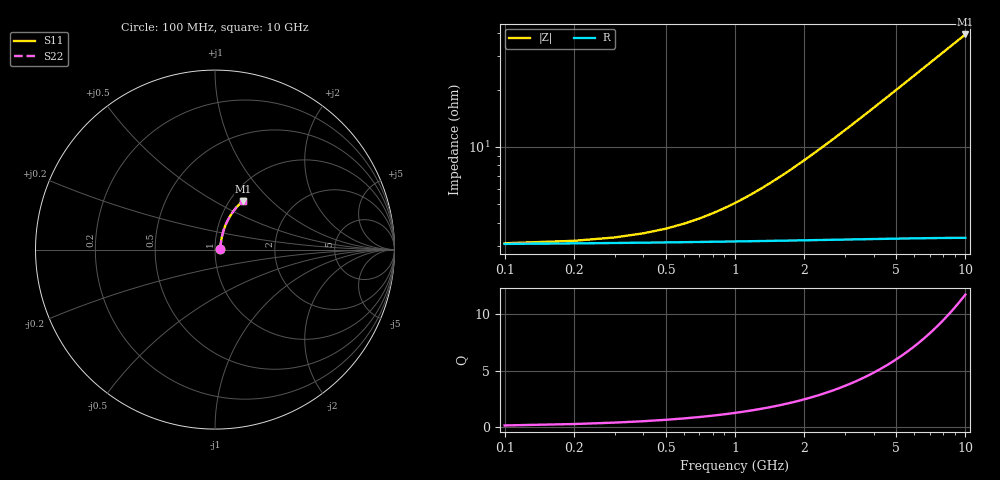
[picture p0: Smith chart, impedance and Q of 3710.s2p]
# Hz S RI R 50.00
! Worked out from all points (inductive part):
!   100 points, 100 MHz to 10 GHz, reference 50 ohm
!   read as one part in series: L = 627 pH near 2.5 GHz
!   highest Q = 11.7 at 10 GHz (marker M1), where L = 621 pH
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1e8  0.03 0.00319  0.97 -0.00424  0.97 -0.00424  0.03 0.00319
2e8  0.0302 0.00638  0.9698 -0.00847  0.9698 -0.00847  0.0302 0.00638
3e8  0.0304 0.00957  0.9696 -0.0127  0.9696 -0.0127  0.0304 0.00957
5e8  0.0308 0.0159  0.9692 -0.0212  0.9692 -0.0212  0.0308 0.0159
7e8  0.0313 0.0223  0.9686 -0.0296  0.9686 -0.0296  0.0313 0.0223
1.3e9  0.0333 0.0413  0.9666 -0.0549  0.9666 -0.0549  0.0333 0.0413
1.6e9  0.0347 0.0507  0.9652 -0.0675  0.9652 -0.0675  0.0347 0.0507
1.8e9  0.0357 0.057  0.9641 -0.0758  0.9641 -0.0758  0.0357 0.057
2.1e9  0.0374 0.0663  0.9623 -0.0883  0.9623 -0.0883  0.0374 0.0663
2.5e9  0.0401 0.0787  0.9596 -0.1049  0.9596 -0.1049  0.0401 0.0787
2.9e9  0.0431 0.0909  0.9564 -0.1213  0.9564 -0.1213  0.0431 0.0909
3.4e9  0.0475 0.1061  0.9518 -0.1417  0.9518 -0.1417  0.0475 0.1061
3.8e9  0.0515 0.118  0.9477 -0.1578  0.9477 -0.1578  0.0515 0.118
4.2e9  0.0558 0.1297  0.9431 -0.1737  0.9431 -0.1737  0.0558 0.1297
4.6e9  0.0606 0.1412  0.9382 -0.1895  0.9382 -0.1895  0.0606 0.1412
5.1e9  0.067 0.1553  0.9315 -0.2088  0.9315 -0.2088  0.067 0.1553
5.9e9  0.0785 0.1771  0.9195 -0.2391  0.9195 -0.2391  0.0785 0.1771
6.7e9  0.0912 0.1979  0.9062 -0.2683  0.9062 -0.2683  0.0912 0.1979
7.5e9  0.1052 0.2176  0.8916 -0.2965  0.8916 -0.2965  0.1052 0.2176
8.4e9  0.1222 0.2383  0.8738 -0.3267  0.8738 -0.3267  0.1222 0.2383
9.2e9  0.1383 0.2554  0.8568 -0.3523  0.8568 -0.3523  0.1383 0.2554
1e10  0.1553 0.2713  0.839 -0.3767  0.839 -0.3767  0.1553 0.2713
